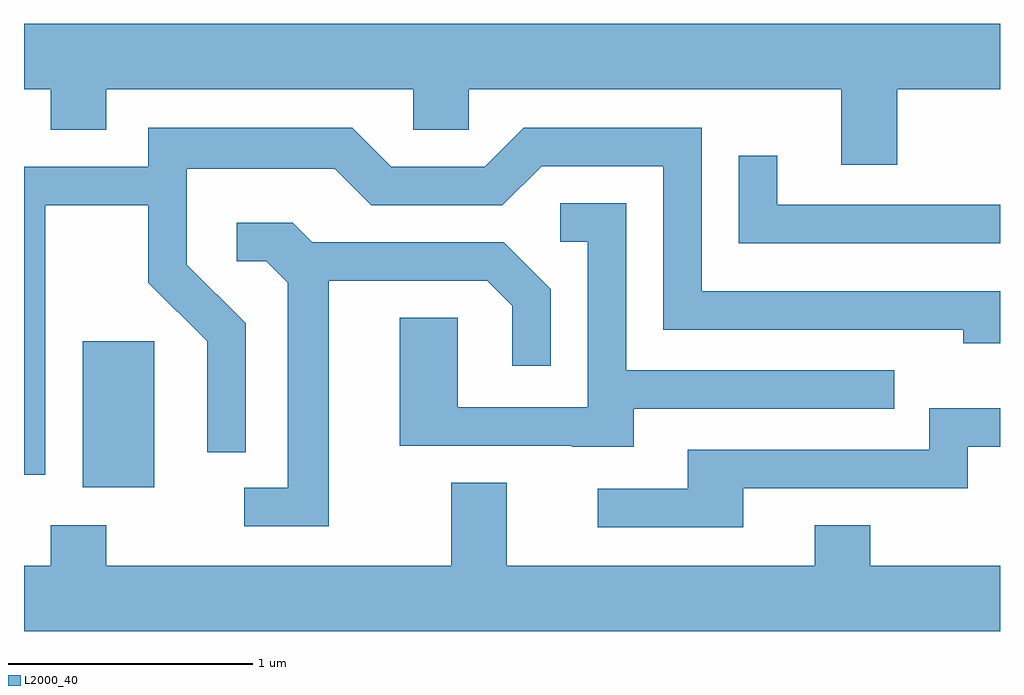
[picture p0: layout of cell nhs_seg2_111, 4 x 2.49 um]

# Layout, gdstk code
import gdstk
lib = gdstk.Library(unit=1e-6, precision=1e-09)
def R(c, l, rs):  # rectangles x0, y0, x1, y1
    for r in rs: c.add(gdstk.rectangle(r[:2], r[2:], *l))
def P(c, l, *ps):  # polygons
    for p in ps: c.add(gdstk.Polygon(p, *l))
L2000_40 = (2000, 40)

nhs_seg2_111 = lib.new_cell('nhs_seg2_111')
R(nhs_seg2_111, L2000_40, [(187.851,1064.446,188.144,1065.044)])
P(nhs_seg2_111, L2000_40, [(191.189,1066.076),(191.611,1066.076),(191.611,1066.344),(187.611,1066.344),(187.611,1066.076),(187.721,1066.076),(187.721,1065.911),(187.949,1065.911),(187.949,1066.076),(189.206,1066.076),(189.206,1065.911),(189.434,1065.911),(189.434,1066.076),(190.961,1066.076),(190.961,1065.766),(191.189,1065.766)],
  [(187.699,1065.601),(188.121,1065.601),(188.121,1065.284),(188.361,1065.044),(188.361,1064.588),(188.519,1064.588),(188.519,1065.117),(188.279,1065.357),(188.279,1065.751),(188.884,1065.751),(189.034,1065.601),(189.572,1065.601),(189.732,1065.761),(190.231,1065.761),(190.231,1065.091),(191.461,1065.091),(191.461,1065.036),(191.611,1065.036),(191.611,1065.249),(190.389,1065.249),(190.389,1065.919),(189.659,1065.919),(189.499,1065.759),(189.117,1065.759),(188.957,1065.919),(188.121,1065.919),(188.121,1065.759),(187.611,1065.759),(187.611,1064.496),(187.699,1064.496)],
  [(191.611,1065.604),(190.699,1065.604),(190.699,1065.803),(190.541,1065.803),(190.541,1065.446),(191.611,1065.446)],
  [(190.109,1064.766),(191.178,1064.766),(191.178,1064.924),(190.079,1064.924),(190.079,1065.609),(189.808,1065.609),(189.808,1065.451),(189.921,1065.451),(189.921,1064.774),(189.389,1064.774),(189.389,1065.139),(189.151,1065.139),(189.151,1064.616),(189.855,1064.616),(189.855,1064.611),(190.109,1064.611)],
  [(188.859,1065.291),(189.509,1065.291),(189.611,1065.189),(189.611,1064.943),(189.769,1064.943),(189.769,1065.257),(189.577,1065.449),(188.792,1065.449),(188.712,1065.529),(188.483,1065.529),(188.483,1065.371),(188.604,1065.371),(188.691,1065.284),(188.691,1064.444),(188.513,1064.444),(188.513,1064.286),(188.859,1064.286)],
  [(190.559,1064.441),(191.479,1064.441),(191.479,1064.611),(191.611,1064.611),(191.611,1064.769),(191.321,1064.769),(191.321,1064.599),(190.331,1064.599),(190.331,1064.439),(189.963,1064.439),(189.963,1064.281),(190.559,1064.281)],
  [(191.611,1064.124),(191.079,1064.124),(191.079,1064.289),(190.851,1064.289),(190.851,1064.124),(189.589,1064.124),(189.589,1064.464),(189.361,1064.464),(189.361,1064.124),(187.949,1064.124),(187.949,1064.289),(187.721,1064.289),(187.721,1064.124),(187.611,1064.124),(187.611,1063.856),(191.611,1063.856)])

lib.write_gds('nhs_seg2_111.gds')
